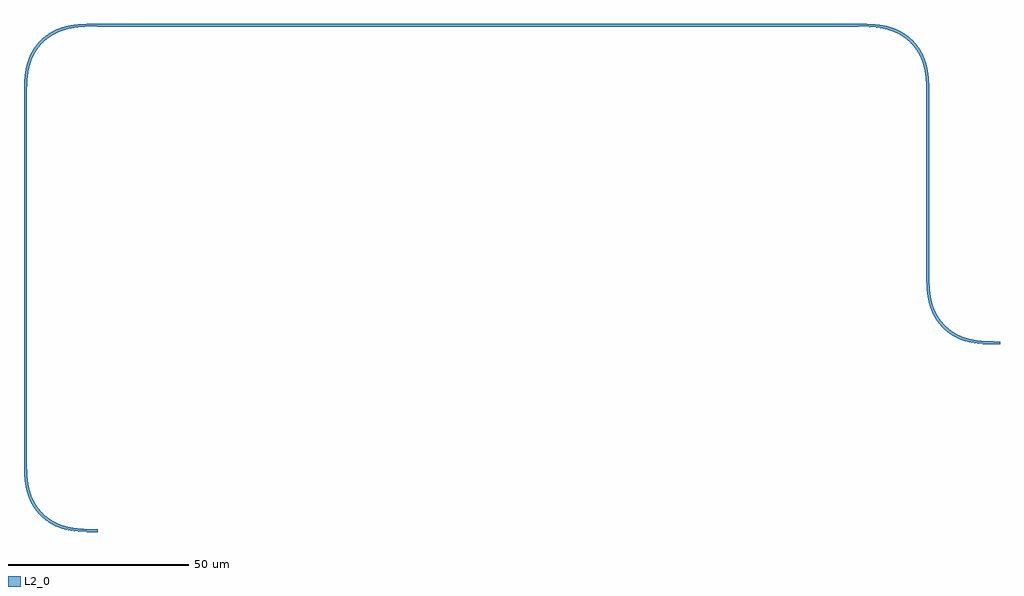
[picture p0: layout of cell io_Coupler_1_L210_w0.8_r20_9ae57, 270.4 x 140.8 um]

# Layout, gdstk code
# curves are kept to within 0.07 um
from math import pi, radians
import gdstk
lib = gdstk.Library(unit=1e-6, precision=1e-09)
def R(c, l, rs):  # rectangles x0, y0, x1, y1
    for r in rs: c.add(gdstk.rectangle(r[:2], r[2:], *l))
def P(c, l, *ps):  # polygons
    for p in ps: c.add(gdstk.Polygon(p, *l))
L2_0 = (2, 0)

straight_gdsfactorypcom_ = lib.new_cell('straight_gdsfactorypcom_05114690')
R(straight_gdsfactorypcom_, L2_0, [(0,-0.4,210,0.4)])

c_straight_gdsfactorypcom_ = lib.new_cell('straight_gdsfactorypcom_837bf467')
R(c_straight_gdsfactorypcom_, L2_0, [(0,-0.4,100,0.4)])

c_straight_gdsfactorypcom__ = lib.new_cell('straight_gdsfactorypcom_3993d4a0')
R(c_straight_gdsfactorypcom__, L2_0, [(0,-0.4,48,0.4)])

bend_euler_gdsfactorypc_ = lib.new_cell('bend_euler_gdsfactorypc_3c996f5a')
P(bend_euler_gdsfactorypc_, L2_0, [(0,-0.4),(0,0.4),(3.3,0.438),(5.697,0.599),(7.863,0.93),(9.843,1.459),(11.318,2.047),(12.676,2.776),(13.982,3.683),(15.151,4.711),(16.237,5.916),(17.173,7.241),(17.946,8.667),(18.515,10.08),(19.04,11.993),(19.394,14.238),(19.562,16.7),(19.6,20),(20.4,20),(20.23,14.555),(19.941,12.425),(19.503,10.554),(18.847,8.72),(18.013,7.083),(16.979,5.565),(15.798,4.226),(14.435,3.021),(12.917,1.987),(11.28,1.153),(9.511,0.516),(7.608,0.065),(5.529,-0.222)])

io_coupler_1_l210_w0_8_r = lib.new_cell('io_Coupler_1_L210_w0.8_r20_9ae57')
io_coupler_1_l210_w0_8_r.add(gdstk.Reference(straight_gdsfactorypcom_, (0,0)))
io_coupler_1_l210_w0_8_r.add(gdstk.Reference(c_straight_gdsfactorypcom_, (-20,-20), rotation=3*pi/2))
io_coupler_1_l210_w0_8_r.add(gdstk.Reference(c_straight_gdsfactorypcom__, (230,-20), rotation=3*pi/2))
io_coupler_1_l210_w0_8_r.add(gdstk.Reference(bend_euler_gdsfactorypc_, (230,-20), rotation=pi/2))
io_coupler_1_l210_w0_8_r.add(gdstk.Reference(bend_euler_gdsfactorypc_, (0,0), rotation=pi))
io_coupler_1_l210_w0_8_r.add(gdstk.Reference(bend_euler_gdsfactorypc_, (230,-68), rotation=3*pi/2))
io_coupler_1_l210_w0_8_r.add(gdstk.Reference(bend_euler_gdsfactorypc_, (-20,-120), rotation=3*pi/2))

lib.write_gds('io_Coupler_1_L210_w0.8_r20_9ae57.gds')
